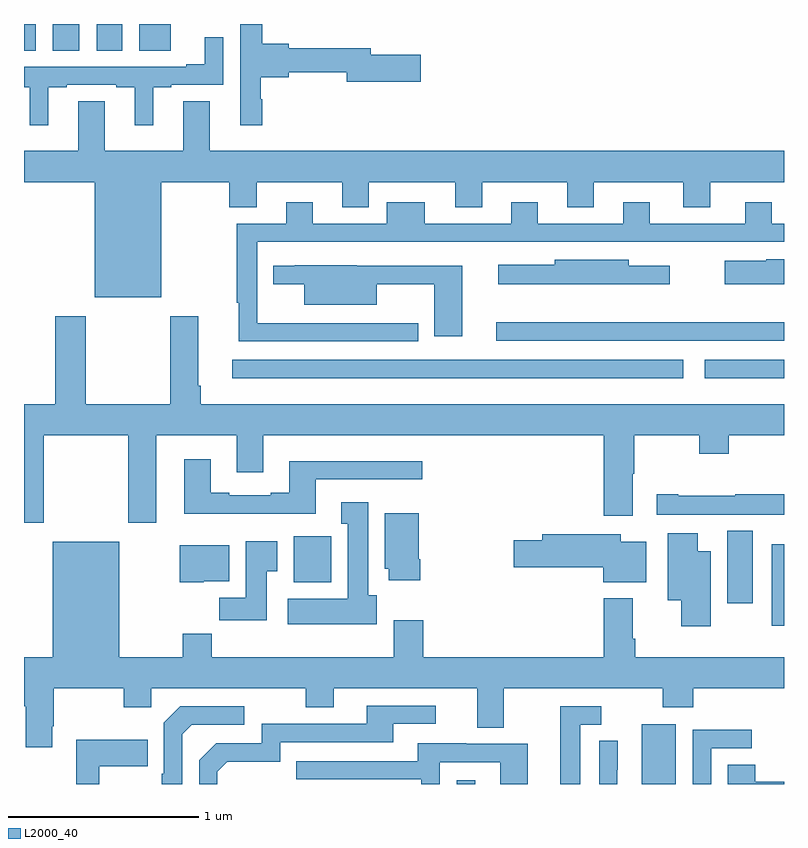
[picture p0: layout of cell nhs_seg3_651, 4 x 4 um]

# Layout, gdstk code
import gdstk
lib = gdstk.Library(unit=1e-6, precision=1e-09)
def R(c, l, rs):  # rectangles x0, y0, x1, y1
    for r in rs: c.add(gdstk.rectangle(r[:2], r[2:], *l))
def P(c, l, *ps):  # polygons
    for p in ps: c.add(gdstk.Polygon(p, *l))
L2000_40 = (2000, 40)

nhs_seg3_651 = lib.new_cell('nhs_seg3_651')
R(nhs_seg3_651, L2000_40, [(145.278,712.4,145.375,712.42), (146.252,712.4,146.431,712.714), (146.936,713.232,147,713.662), (146.702,713.352,146.836,713.732), (144.419,713.462,144.616,713.704), (144.096,714.536,146.47,714.633), (146.583,714.536,147,714.633), (145.485,714.732,147,714.83), (143,716.26,143.062,716.4), (143.15,716.26,143.29,716.4), (143.384,716.26,143.518,716.4), (143.606,716.26,143.773,716.4)])
P(nhs_seg3_651, L2000_40, [(144.254,716.004),(144.247,716.004),(144.247,716.119),(144.394,716.119),(144.394,716.145),(144.698,716.145),(144.698,716.095),(145.087,716.095),(145.087,716.237),(144.826,716.237),(144.826,716.273),(144.394,716.273),(144.394,716.297),(144.254,716.297),(144.254,716.4),(144.137,716.4),(144.137,716.38),(144.138,716.38),(144.138,715.866),(144.254,715.866)],
  [(143.128,716.067),(143.224,716.067),(143.224,716.079),(143.486,716.079),(143.486,716.067),(143.582,716.067),(143.582,715.866),(143.68,715.866),(143.68,716.067),(143.776,716.067),(143.776,716.079),(144.048,716.079),(144.048,716.329),(143.951,716.329),(143.951,716.188),(143.855,716.188),(143.855,716.175),(143,716.175),(143,716.067),(143.03,716.067),(143.03,715.866),(143.128,715.866)],
  [(143.722,715.568),(144.079,715.568),(144.079,715.435),(144.226,715.435),(144.226,715.568),(144.674,715.568),(144.674,715.435),(144.814,715.435),(144.814,715.568),(145.271,715.568),(145.271,715.435),(145.411,715.435),(145.411,715.568),(145.859,715.568),(145.859,715.435),(145.999,715.435),(145.999,715.568),(146.471,715.568),(146.471,715.435),(146.611,715.435),(146.611,715.568),(147,715.568),(147,715.732),(143.977,715.732),(143.977,715.994),(143.837,715.994),(143.837,715.732),(143.425,715.732),(143.425,715.994),(143.285,715.994),(143.285,715.732),(143,715.732),(143,715.568),(143.372,715.568),(143.372,714.962),(143.722,714.962)],
  [(145.075,714.825),(144.228,714.825),(144.228,715.254),(147,715.254),(147,715.35),(146.935,715.35),(146.935,715.462),(146.795,715.462),(146.795,715.35),(146.293,715.35),(146.293,715.462),(146.153,715.462),(146.153,715.35),(145.705,715.35),(145.705,715.462),(145.565,715.462),(145.565,715.35),(145.108,715.35),(145.108,715.462),(144.908,715.462),(144.908,715.35),(144.52,715.35),(144.52,715.462),(144.38,715.462),(144.38,715.35),(144.12,715.35),(144.12,714.932),(144.131,714.932),(144.131,714.729),(145.075,714.729)],
  [(147,715.162),(146.907,715.162),(146.907,715.153),(146.688,715.153),(146.688,715.031),(147,715.031)],
  [(146.398,715.128),(146.184,715.128),(146.184,715.159),(145.794,715.159),(145.794,715.132),(145.497,715.132),(145.497,715.031),(146.398,715.031)],
  [(145.306,715.128),(144.752,715.128),(144.752,715.129),(144.424,715.129),(144.424,715.127),(144.313,715.127),(144.313,715.031),(144.476,715.031),(144.476,714.923),(144.856,714.923),(144.856,715.031),(145.16,715.031),(145.16,714.756),(145.306,714.756)],
  [(143.103,714.236),(143.548,714.236),(143.548,713.775),(143.695,713.775),(143.695,714.236),(144.119,714.236),(144.119,714.042),(144.259,714.042),(144.259,714.236),(146.051,714.236),(146.051,713.811),(146.203,713.811),(146.203,714.032),(146.211,714.032),(146.211,714.236),(146.554,714.236),(146.554,714.137),(146.709,714.137),(146.709,714.236),(147,714.236),(147,714.4),(143.93,714.4),(143.93,714.496),(143.917,714.496),(143.917,714.862),(143.77,714.862),(143.77,714.4),(143.325,714.4),(143.325,714.862),(143.165,714.862),(143.165,714.4),(143,714.4),(143,713.775),(143.103,713.775)],
  [(144.535,714.003),(145.096,714.003),(145.096,714.1),(144.395,714.1),(144.395,713.932),(144.299,713.932),(144.299,713.919),(144.079,713.919),(144.079,713.932),(143.983,713.932),(143.983,714.109),(143.843,714.109),(143.843,713.822),(144.535,713.822)],
  [(147,713.926),(146.743,713.926),(146.743,713.916),(146.443,713.916),(146.443,713.926),(146.331,713.926),(146.331,713.817),(146.94,713.817),(146.94,713.816),(147,713.816)],
  [(144.856,713.394),(144.811,713.394),(144.811,713.884),(144.671,713.884),(144.671,713.771),(144.704,713.771),(144.704,713.374),(144.387,713.374),(144.387,713.24),(144.856,713.24)],
  [(145.086,713.584),(145.078,713.584),(145.078,713.824),(144.899,713.824),(144.899,713.532),(144.92,713.532),(144.92,713.472),(145.086,713.472)],
  [(146.614,713.626),(146.545,713.626),(146.545,713.719),(146.387,713.719),(146.387,713.366),(146.459,713.366),(146.459,713.229),(146.614,713.229)],
  [(146.275,713.674),(146.142,713.674),(146.142,713.714),(145.727,713.714),(145.727,713.684),(145.578,713.684),(145.578,713.542),(146.048,713.542),(146.048,713.462),(146.275,713.462)],
  [(144.277,713.521),(144.334,713.521),(144.334,713.677),(144.167,713.677),(144.167,713.38),(144.028,713.38),(144.028,713.262),(144.277,713.262)],
  [(143.149,712.705),(143.157,712.705),(143.157,712.904),(143.524,712.904),(143.524,712.805),(143.67,712.805),(143.67,712.904),(144.484,712.904),(144.484,712.805),(144.631,712.805),(144.631,712.904),(145.385,712.904),(145.385,712.696),(145.525,712.696),(145.525,712.904),(146.362,712.904),(146.362,712.805),(146.522,712.805),(146.522,712.904),(147,712.904),(147,713.068),(146.216,713.068),(146.216,713.164),(146.203,713.164),(146.203,713.377),(146.051,713.377),(146.051,713.068),(145.1,713.068),(145.1,713.263),(144.947,713.263),(144.947,713.068),(143.987,713.068),(143.987,713.192),(143.836,713.192),(143.836,713.068),(143.5,713.068),(143.5,713.674),(143.15,713.674),(143.15,713.068),(143,713.068),(143,712.808),(143.009,712.808),(143.009,712.593),(143.149,712.593)],
  [(143.946,713.468),(144.079,713.468),(144.079,713.656),(143.821,713.656),(143.821,713.462),(143.946,713.462)],
  [(144.018,712.464),(144.071,712.517),(144.348,712.517),(144.348,712.62),(144.943,712.62),(144.943,712.716),(145.168,712.716),(145.168,712.812),(144.803,712.812),(144.803,712.716),(144.252,712.716),(144.252,712.614),(144.012,712.614),(143.922,712.524),(143.922,712.4),(144.018,712.4)],
  [(145.927,712.713),(146.038,712.713),(146.038,712.809),(145.823,712.809),(145.823,712.4),(145.927,712.4)],
  [(143.832,712.662),(143.883,712.713),(144.16,712.713),(144.16,712.809),(143.823,712.809),(143.736,712.722),(143.736,712.453),(143.724,712.453),(143.724,712.4),(143.832,712.4)],
  [(146.616,712.587),(146.83,712.587),(146.83,712.686),(146.52,712.686),(146.52,712.4),(146.616,712.4)],
  [(143.395,712.493),(143.651,712.493),(143.651,712.633),(143.274,712.633),(143.274,712.4),(143.395,712.4)],
  [(146.123,712.474),(146.124,712.474),(146.124,712.628),(146.028,712.628),(146.028,712.4),(146.123,712.4)],
  [(145.188,712.515),(145.506,712.515),(145.506,712.4),(145.651,712.4),(145.651,712.611),(145.327,712.611),(145.327,712.615),(145.073,712.615),(145.073,712.521),(144.433,712.521),(144.433,712.425),(145.092,712.425),(145.092,712.4),(145.188,712.4)],
  [(147,712.412),(146.849,712.412),(146.849,712.502),(146.705,712.502),(146.705,712.4),(147,712.4)])

lib.write_gds('nhs_seg3_651.gds')
